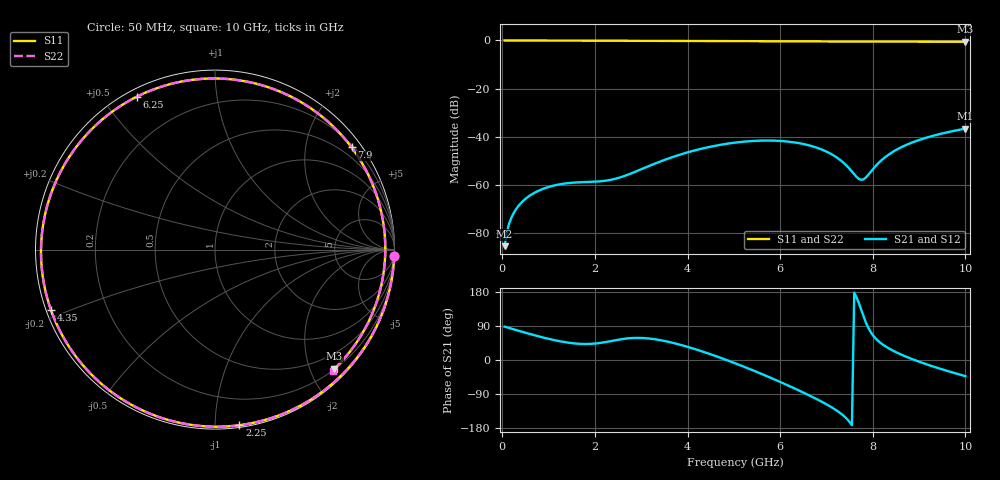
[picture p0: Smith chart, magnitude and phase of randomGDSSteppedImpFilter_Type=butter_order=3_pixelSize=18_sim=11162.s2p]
! freq	dB(S11)	phase(S11)	dB(S12)	phase(S12)
!  dB(S21)	phase(S21)	dB(S22)	phase(S22)
!S-par simulation data
#  GHz  S  DB  R 50
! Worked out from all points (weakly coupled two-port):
!   200 points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, 50 MHz to 10 GHz, reference 50 ohm
!   highest |S21| = -36.53 dB at 10 GHz (marker M1); lowest = -85.3 dB at 50 MHz (marker M2)
!   lowest |S11| = -0.5 dB at 10 GHz (marker M3), VSWR 32.24, Z = 10.6 - j120 ohm
!   |S11| at or under -10 dB: nowhere
!   |S22| runs from -0.5 to 0.0 dB; largest |S21 - S12| = 0
!   S11 on the Smith chart (normalised r, x): 50 MHz: 1, -61; 2.25 GHz: 0.01, -1.15; 4.35 GHz: 0.01, -0.18; 6.25 GHz: 0.03, +0.61; 7.9 GHz: 0.25, +2.99; 10 GHz: 0.21, -2.40
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0.05  -0.00 -1.9  -85.27 88.0  -85.27 88.0  -0.00 -1.9
0.1  -0.01 -3.7  -79.27 86.2  -79.27 86.2  -0.01 -3.7
0.2  -0.01 -7.4  -73.31 82.6  -73.31 82.6  -0.01 -7.4
0.3  -0.01 -11.1  -69.86 79.0  -69.86 79.0  -0.01 -11.1
0.6  -0.02 -22.2  -64.23 68.5  -64.23 68.5  -0.02 -22.2
1.1  -0.05 -40.5  -60.19 53.1  -60.19 53.1  -0.05 -40.5
1.75  -0.08 -64.1  -58.72 42.3  -58.72 42.3  -0.08 -64.1
2.25  -0.11 -82.1  -58.08 47.7  -58.08 47.7  -0.11 -82.1
2.8  -0.13 -101.9  -54.98 57.9  -54.98 57.9  -0.13 -102.0
3.4  -0.17 -123.8  -50.26 52.6  -50.26 52.6  -0.17 -123.9
4.35  -0.23 -159.9  -44.65 21.3  -44.65 21.3  -0.23 -160.2
5.05  -0.29 171.5  -42.29 -9.7  -42.29 -9.7  -0.29 171.1
5.65  -0.34 145.1  -41.50 -39.4  -41.50 -39.4  -0.34 144.6
6.25  -0.38 117.0  -42.11 -71.6  -42.11 -71.6  -0.38 116.3
6.7  -0.41 95.1  -43.89 -97.7  -43.89 -97.7  -0.41 94.2
7.25  -0.43 68.0  -48.88 -135.8  -48.88 -135.8  -0.43 67.0
7.7  -0.44 46.2  -57.39 149.9  -57.39 149.9  -0.44 45.2
7.8  -0.44 41.5  -57.56 115.1  -57.56 115.1  -0.44 40.4
7.9  -0.44 36.8  -55.75 85.6  -55.75 85.6  -0.44 35.7
8.35  -0.45 16.5  -47.21 30.3  -47.21 30.3  -0.45 15.5
9.1  -0.47 -14.0  -40.64 -8.8  -40.64 -8.8  -0.47 -15.0
10  -0.54 -44.9  -36.53 -42.7  -36.53 -42.7  -0.54 -45.8
